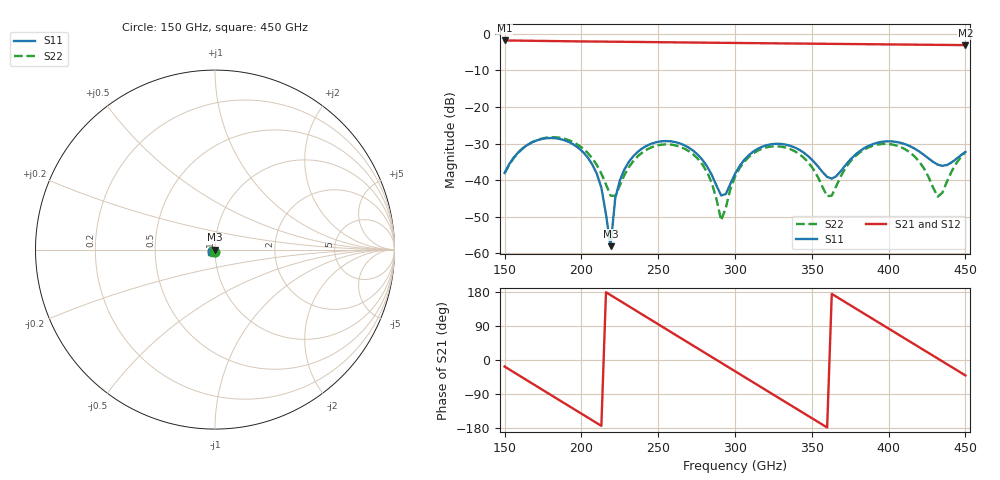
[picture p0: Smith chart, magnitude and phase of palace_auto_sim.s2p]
#  GHZ S DB R 50
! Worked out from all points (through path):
!   101 points, 150 GHz to 450 GHz, reference 50 ohm
!   highest |S21| = -1.79 dB at 150 GHz (marker M1); lowest = -3.1 dB at 450 GHz (marker M2)
!   group delay of S21, straight-line fit = 6.88 ps
!   lowest |S11| = -58.1 dB at 219 GHz (marker M3), VSWR 1.00, Z = 50 - j0.125 ohm
!   |S11| at or under -10 dB: start of sweep to end of sweep
!   |S22| runs from -51.0 to -28.3 dB; largest |S21 - S12| = 1.3e-13
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150  -38.05 -93.5  -1.79 -17.3  -1.79 -17.3  -38.14 -102.0
162  -31.21 -107.8  -1.85 -47.2  -1.85 -47.2  -31.28 -110.5
177  -28.56 -141.8  -1.93 -84.5  -1.93 -84.5  -28.40 -141.9
201  -32.31 159.9  -2.05 -144.0  -2.05 -144.0  -31.35 165.8
213  -42.09 133.2  -2.10 -173.8  -2.10 -173.8  -38.20 152.7
219  -58.07 -90.8  -2.13 171.3  -2.13 171.3  -44.24 179.3
222  -45.06 -78.0  -2.14 163.9  -2.14 163.9  -44.35 -146.6
228  -37.07 -89.0  -2.16 149.0  -2.16 149.0  -38.62 -119.5
252  -29.39 -144.1  -2.27 89.4  -2.27 89.4  -30.31 -156.3
279  -34.57 162.2  -2.39 22.5  -2.39 22.5  -35.86 147.1
285  -38.69 160.4  -2.41 7.6  -2.41 7.6  -40.91 140.9
291  -44.19 -170.2  -2.44 -7.3  -2.44 -7.3  -51.02 -176.4
300  -38.29 -114.1  -2.47 -29.6  -2.47 -29.6  -39.06 -105.9
309  -33.17 -121.0  -2.51 -51.9  -2.51 -51.9  -33.67 -120.4
324  -30.16 -148.2  -2.57 -89.0  -2.57 -89.0  -30.78 -152.1
351  -34.81 172.5  -2.68 -155.8  -2.68 -155.8  -37.01 160.6
363  -39.61 -156.4  -2.72 174.5  -2.72 174.5  -44.23 -140.2
378  -33.17 -128.6  -2.78 137.3  -2.78 137.3  -33.57 -120.6
402  -29.41 -163.2  -2.88 78.0  -2.88 78.0  -30.22 -166.5
420  -32.19 174.7  -2.95 33.5  -2.95 33.5  -34.97 162.7
432  -35.77 -175.0  -2.99 3.8  -2.99 3.8  -44.52 -163.0
450  -32.27 -146.1  -3.06 -40.7  -3.06 -40.7  -32.36 -116.5
